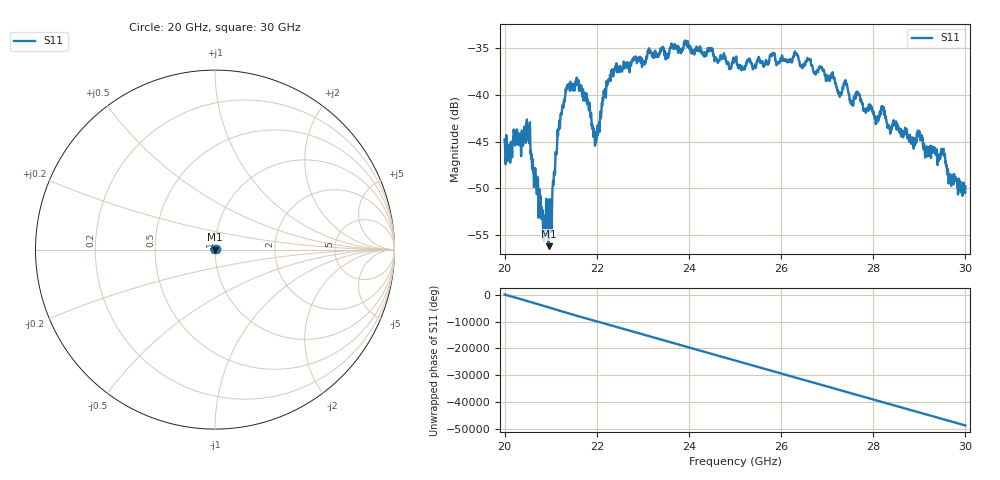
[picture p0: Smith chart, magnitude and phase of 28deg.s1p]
#  HZ  S  RI  R  50.00
! Rohde & Schwarz ZVA40 4Ports - Version 3.90 - 1145.1110k42 SN: 100403
! Date: 2023-10-03 12:48:32
! Measurement: S12
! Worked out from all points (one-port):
!   5001 points, 20 GHz to 30 GHz, reference 50 ohm
!   lowest |S11| = -56.2 dB at 20.95 GHz (marker M1), VSWR 1.00, Z = 50.2 - j0.0194 ohm
!   |S11| at or under -10 dB: start of sweep to end of sweep
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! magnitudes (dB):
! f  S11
! 20 GHz  -44.8
! 20.51 GHz  -43.7
! 20.84 GHz  -54.2
! 20.95 GHz  -56.2
! 21 GHz  -51.6
! 21.15 GHz  -43.8
! 21.25 GHz  -41.3
! 21.36 GHz  -39.1
! 21.58 GHz  -38.8
! 21.81 GHz  -40.9
! 21.98 GHz  -44.1
! 22.26 GHz  -38.5
! 22.5 GHz  -37.2
! 23.75 GHz  -34.8
! 25 GHz  -36.1
! 26.25 GHz  -36.1
! 27.12 GHz  -37.6
! 27.27 GHz  -40.2
! 27.4 GHz  -38.5
! 27.5 GHz  -40.4
! 27.67 GHz  -39.9
! 28.06 GHz  -42.7
! 28.2 GHz  -41.4
! 28.35 GHz  -43.6
! 28.75 GHz  -44.4
! 29.51 GHz  -45.9
! 29.68 GHz  -48.6
! 30 GHz  -49.8
